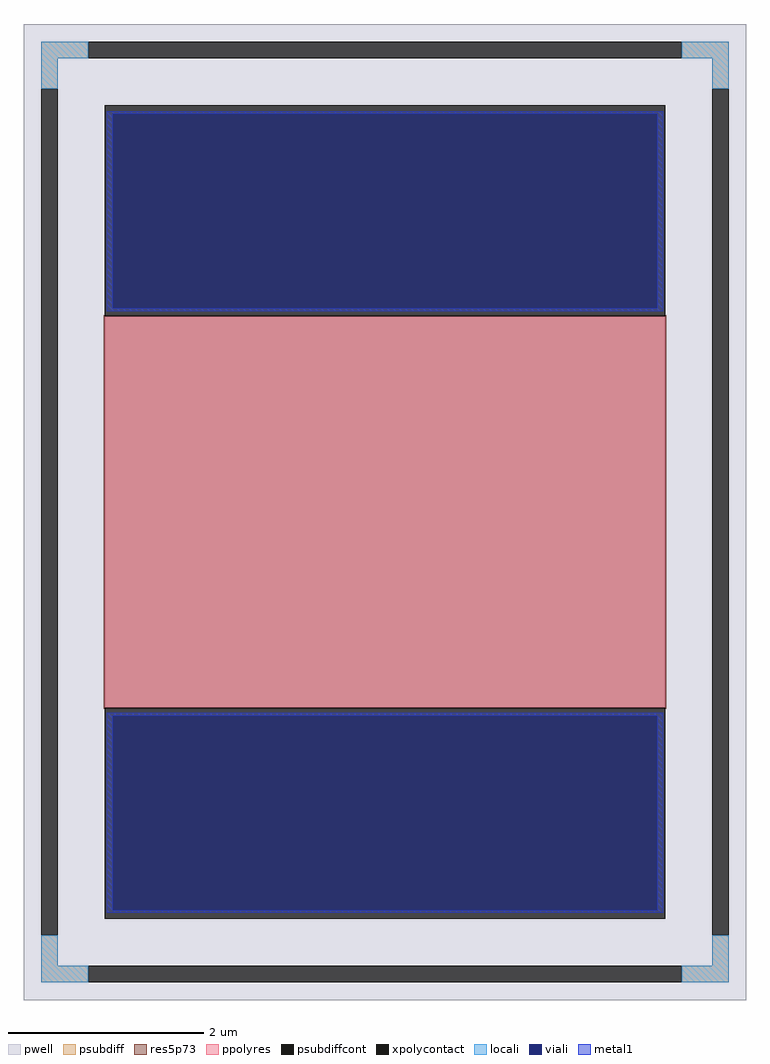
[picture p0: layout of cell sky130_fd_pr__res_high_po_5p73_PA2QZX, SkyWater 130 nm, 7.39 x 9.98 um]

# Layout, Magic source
magic
tech sky130A
magscale 1 2
<< pwell >>
rect -739 -998 739 998
<< psubdiff >>
rect -703 928 -607 962
rect 607 928 703 962
rect -703 866 -669 928
rect 669 866 703 928
rect -703 -928 -669 -866
rect 669 -928 703 -866
rect -703 -962 -607 -928
rect 607 -962 703 -928
<< psubdiffcont >>
rect -607 928 607 962
rect -703 -866 -669 866
rect 669 -866 703 866
rect -607 -962 607 -928
<< xpolycontact >>
rect -573 400 573 832
rect -573 -832 573 -400
<< ppolyres >>
rect -573 -400 573 400
<< locali >>
rect -703 928 -607 962
rect 607 928 703 962
rect -703 866 -669 928
rect 669 866 703 928
rect -703 -928 -669 -866
rect 669 -928 703 -866
rect -703 -962 -607 -928
rect 607 -962 703 -928
<< viali >>
rect -557 417 557 814
rect -557 -814 557 -417
<< metal1 >>
rect -569 814 569 820
rect -569 417 -557 814
rect 557 417 569 814
rect -569 411 569 417
rect -569 -417 569 -411
rect -569 -814 -557 -417
rect 557 -814 569 -417
rect -569 -820 569 -814
<< res5p73 >>
rect -575 -402 575 402
<< properties >>
string FIXED_BBOX -686 -945 686 945
string gencell sky130_fd_pr__res_high_po_5p73
string library sky130
string parameters w 5.730 l 4 m 1 nx 1 wmin 5.730 lmin 0.50 rho 319.8 val 291.246 dummy 0 dw 0.0 term 194.82 sterm 0.0 caplen 0 guard 1 glc 1 grc 1 gtc 1 gbc 1 compatible {sky130_fd_pr__res_high_po_0p35  sky130_fd_pr__res_high_po_0p69 sky130_fd_pr__res_high_po_1p41  sky130_fd_pr__res_high_po_2p85 sky130_fd_pr__res_high_po_5p73} full_metal 1 wmax 5.730 n_guard 0 hv_guard 0 vias 1 viagb 0 viagt 0 viagl 0 viagr 0
<< end >>
